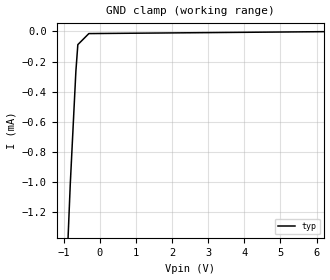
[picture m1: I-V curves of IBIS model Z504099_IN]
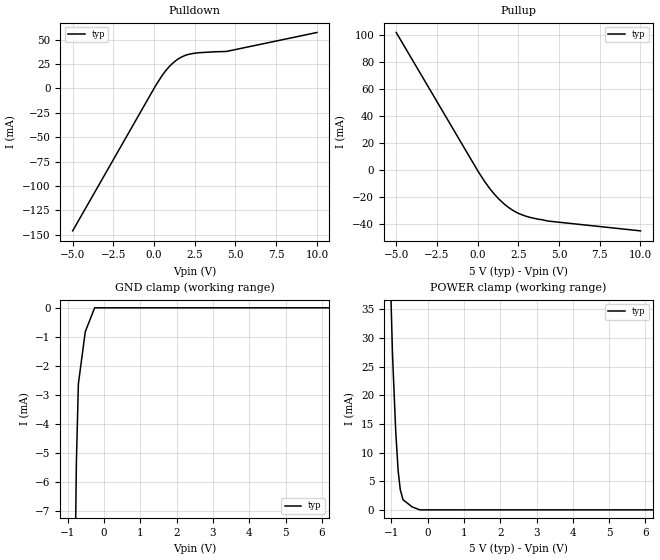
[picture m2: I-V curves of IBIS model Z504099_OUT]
| YOU ARE ONLY AUTHORIZED TO USE THIS SOFTWARE
| ACCORDING TO LICENSOR'S LICENSE RESTRICTIONS.
[IBIS Ver] 3.1
[File Name] mc54hc4049j.ibs
[File Rev] 2.0
[Source] Measured and created by ICX Technology
[Date] Friday 7/14/00 9:08:06 AM
[Copyright]
| (C) COPYRIGHT 1993-2000
| MENTOR GRAPHICS CORPORATION
| ICX STANDARD LIBRARY, ICX PROJECT MODELING,
| ICX CUSTOM MODELING, ICX VENDOR MODEL
| ALL RIGHTS RESERVED.
| THE FOLLOWING ARE TRADEMARKS OR SERVICE MARKS OF
| MENTOR GRAPHICS CORPORATION:ICX (R), ICX STANDARD
| LIBRARY(R), ICX PROJECT MODELING(R), ICX CUSTOM
| MODELING(R), qualityIBIS(TM), MODELVIEWER(TM),
| AND MODELEDITOR(TM)
| ALL COPIES OF SOFTWARE, INCLUDING BUT NOT LIMITED TO
| ANY MODIFICATIONS, ENHANCEMENTS OR DERIVATIVE WORKS,
| MUST CONTAIN ALL MENTOR GRAPHICS CORPORATION'S
| NOTICES AND LEGENDS, INCLUDING THOSE EMBEDDED IN
| SOFTWARE AND THOSE AFFIXED TO SOFTWARE MEDIUM
| AND CONTAINER, AS RECEIVED FROM MENTOR GRAPHICS
| CORPORATION.
|  ZAP Model Builder 2.7
[Component] MC54HC4049J
[Manufacturer] OnSemiconductor
[Package]
| variable   typ   min   max
R_pkg  .212ohms NA NA
L_pkg  4.758nH NA NA
C_pkg  1.944pF NA NA
[Pin] signal_name  model_name  R_pin  L_pin C_pin
1 VCC POWER .224 7.258n 2.683p
2 Y Z504099_OUT .216 5.258n 2.19p
3 A Z504099_IN .208 3.758n 1.697p
4 Y Z504099_OUT .2 2.758n 1.204p
5 A Z504099_IN .2 2.758n 1.204p
6 Y Z504099_OUT .208 3.758n 1.697p
7 A Z504099_IN .216 5.258n 2.19p
8 GND GND .224 7.258n 2.683p
9 A Z504099_IN .224 7.258n 2.683p
10 Y Z504099_OUT .216 5.258n 2.19p
11 A Z504099_IN .208 3.758n 1.697p
12 Y Z504099_OUT .2 2.758n 1.204p
13 NC NC .2 2.758n 1.204p
14 A Z504099_IN .208 3.758n 1.697p
15 Y Z504099_OUT .216 5.258n 2.19p
16 NC NC .224 7.258n 2.683p
| Models and submodels in the file (2): Z504099_IN (Input), Z504099_OUT (Output)
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| (C) COPYRIGHT 1993-2000
| MENTOR GRAPHICS CORPORATION
| ICX STANDARD LIBRARY, ICX PROJECT MODELING,
| ICX CUSTOM MODELING, ICX VENDOR MODEL
| ALL RIGHTS RESERVED.
| THE FOLLOWING ARE TRADEMARKS OR SERVICE MARKS OF
| MENTOR GRAPHICS CORPORATION:ICX (R), ICX STANDARD
| LIBRARY(R), ICX PROJECT MODELING(R), ICX CUSTOM
| MODELING(R), qualityIBIS(TM), MODELVIEWER(TM),
| AND MODELEDITOR(TM)
| ALL COPIES OF SOFTWARE, INCLUDING BUT NOT LIMITED TO
| ANY MODIFICATIONS, ENHANCEMENTS OR DERIVATIVE WORKS,
| MUST CONTAIN ALL MENTOR GRAPHICS CORPORATION'S
| NOTICES AND LEGENDS, INCLUDING THOSE EMBEDDED IN
| SOFTWARE AND THOSE AFFIXED TO SOFTWARE MEDIUM
| AND CONTAINER, AS RECEIVED FROM MENTOR GRAPHICS
| CORPORATION.
| Model Application Version 1.89 2/18/99.
[Model] Z504099_IN
Model_type Input
Vinl = 1.000V
Vinh = 3.500V
C_comp 4.000pF NA NA
| variable typ   min   max
[Voltage Range] 5.000V NA NA
[GND Clamp Reference] 0.000V NA NA
[POWER Clamp Reference] 5.000V NA NA
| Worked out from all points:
|   GND clamp passes 1 mA (typ) near -0.82 V on its own axis
[GND Clamp]
-5V       -26.82mA   NA         NA
-1.123V   -2.78mA    NA         NA
-819.8mV  -1.015mA   NA         NA
-664.2mV  -264.5uA   NA         NA
-609.9mV  -87.49uA   NA         NA
-304.9mV  -14.32uA   NA         NA
10V       5.812uA    NA         NA
[POWER Clamp]
-5V       0A         NA         NA
10V       0A         NA         NA
| (C) COPYRIGHT 1993-2000
| MENTOR GRAPHICS CORPORATION
| ICX STANDARD LIBRARY, ICX PROJECT MODELING,
| ICX CUSTOM MODELING, ICX VENDOR MODEL
| ALL RIGHTS RESERVED.
| THE FOLLOWING ARE TRADEMARKS OR SERVICE MARKS OF
| MENTOR GRAPHICS CORPORATION:ICX (R), ICX STANDARD
| LIBRARY(R), ICX PROJECT MODELING(R), ICX CUSTOM
| MODELING(R), qualityIBIS(TM), MODELVIEWER(TM),
| AND MODELEDITOR(TM)
| ALL COPIES OF SOFTWARE, INCLUDING BUT NOT LIMITED TO
| ANY MODIFICATIONS, ENHANCEMENTS OR DERIVATIVE WORKS,
| MUST CONTAIN ALL MENTOR GRAPHICS CORPORATION'S
| NOTICES AND LEGENDS, INCLUDING THOSE EMBEDDED IN
| SOFTWARE AND THOSE AFFIXED TO SOFTWARE MEDIUM
| AND CONTAINER, AS RECEIVED FROM MENTOR GRAPHICS
| CORPORATION.
| Model Application Version 1.89 2/18/99.
[Model] Z504099_OUT
Model_type Output
Vref=0.000V
Rref=500.0Mohms
Cref=50.00pF
Vmeas=2.500V
C_comp 8.000pF NA NA
| variable typ   min   max
[Voltage Range] 5.000V NA NA
[POWER Clamp Reference] 5.000V NA NA
[Pullup Reference] 5.000V NA NA
[Pulldown Reference] 0.000V NA NA
[GND Clamp Reference] 0.000V NA NA
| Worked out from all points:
|   slope of the pulldown table from 0 to 0.75 V, typ, clamps not added: 39.9 ohm
|   slope of the pullup table from 0 to 0.75 V, typ, clamps not added: 55.9 ohm
|   GND clamp passes 1 mA (typ) near -0.53 V on its own axis
[GND Clamp]
-5V       -1.003A    NA         NA
-1.199V   -64.84mA   NA         NA
-1.074V   -40.36mA   NA         NA
-1.004V   -30.7mA    NA         NA
-761.5mV  -5.36mA    NA         NA
-706.3mV  -2.626mA   NA         NA
-516.1mV  -823.2uA   NA         NA
-258mV    0A         NA         NA
10V       0A         NA         NA
[Pulldown]
-5V       -146.2mA   NA         NA
102.4mV   3.107mA    NA         NA
704.5mV   18mA       NA         NA
918.5mV   22.24mA    NA         NA
1.333V    28.55mA    NA         NA
1.728V    32.62mA    NA         NA
2.246V    35.52mA    NA         NA
4.434V    37.98mA    NA         NA
10V       57.46mA    NA         NA
[Pullup]
-5V       101.9mA    NA         NA
39mV      -1.266mA   NA         NA
747mV     -13.83mA   NA         NA
1.275V    -21.23mA   NA         NA
1.67V     -25.67mA   NA         NA
2.5V      -32.13mA   NA         NA
2.958V    -34.27mA   NA         NA
3.793V    -36.66mA   NA         NA
4.351V    -37.91mA   NA         NA
10V       -45.14mA   NA         NA
[POWER Clamp]
-5V       1.207A     NA         NA
-1.123V   63.38mA    NA         NA
-966mV    27.13mA    NA         NA
-879mV    13.92mA    NA         NA
-811mV    6.829mA    NA         NA
-752mV    3.517mA    NA         NA
-677mV    1.772mA    NA         NA
-427mV    517.5uA    NA         NA
-213.5mV  0A         NA         NA
10V       0A         NA         NA
[Ramp]
| variable typ min max
dV/dt_r 2.726/1.485n NA NA
dV/dt_f 2.726/1.422n NA NA
R_load = 500.0Ohms
